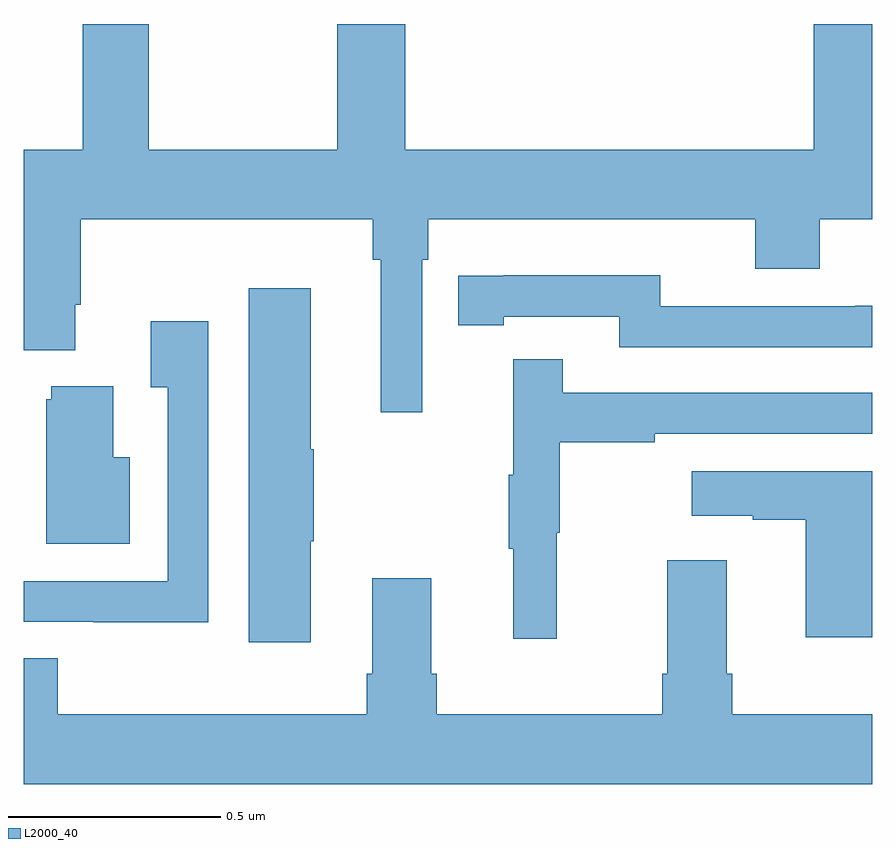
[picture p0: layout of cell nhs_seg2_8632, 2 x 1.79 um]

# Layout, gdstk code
import gdstk
lib = gdstk.Library(unit=1e-6, precision=1e-09)
def P(c, l, *ps):  # polygons
    for p in ps: c.add(gdstk.Polygon(p, *l))
L2000_40 = (2000, 40)

nhs_seg2_8632 = lib.new_cell('nhs_seg2_8632')
P(nhs_seg2_8632, L2000_40, [(219.939,610.244),(219.953,610.244),(219.953,610.34),(220.724,610.34),(220.724,610.223),(220.877,610.223),(220.877,610.34),(221,610.34),(221,610.8),(220.862,610.8),(220.862,610.504),(219.899,610.504),(219.899,610.8),(219.739,610.8),(219.739,610.504),(219.294,610.504),(219.294,610.8),(219.139,610.8),(219.139,610.504),(219,610.504),(219,610.031),(219.121,610.031),(219.121,610.138),(219.134,610.138),(219.134,610.34),(219.823,610.34),(219.823,610.244),(219.842,610.244),(219.842,609.885),(219.939,609.885)],
  [(221,610.136),(220.96,610.136),(220.96,610.134),(220.5,610.134),(220.5,610.207),(220.132,610.207),(220.132,610.206),(220.024,610.206),(220.024,610.09),(220.132,610.09),(220.132,610.11),(220.404,610.11),(220.404,610.038),(221,610.038)],
  [(219.676,609.58),(219.684,609.58),(219.684,609.797),(219.676,609.797),(219.676,610.177),(219.53,610.177),(219.53,609.342),(219.676,609.342)],
  [(219.435,610.099),(219.299,610.099),(219.299,609.943),(219.339,609.943),(219.339,609.486),(219,609.486),(219,609.39),(219.163,609.39),(219.163,609.389),(219.435,609.389)],
  [(220.256,609.6),(220.264,609.6),(220.264,609.814),(220.487,609.814),(220.487,609.834),(221,609.834),(221,609.93),(220.271,609.93),(220.271,610.009),(220.154,610.009),(220.154,609.737),(220.143,609.737),(220.143,609.563),(220.154,609.563),(220.154,609.351),(220.256,609.351)],
  [(219.25,609.778),(219.211,609.778),(219.211,609.946),(219.065,609.946),(219.065,609.915),(219.053,609.915),(219.053,609.575),(219.25,609.575)],
  [(221,609.745),(220.575,609.745),(220.575,609.641),(220.718,609.641),(220.718,609.631),(220.844,609.631),(220.844,609.354),(221,609.354)],
  [(221,609.172),(220.67,609.172),(220.67,609.268),(220.657,609.268),(220.657,609.535),(220.517,609.535),(220.517,609.268),(220.505,609.268),(220.505,609.172),(219.974,609.172),(219.974,609.268),(219.961,609.268),(219.961,609.493),(219.821,609.493),(219.821,609.268),(219.809,609.268),(219.809,609.172),(219.08,609.172),(219.08,609.305),(219,609.305),(219,609.008),(221,609.008)])

lib.write_gds('nhs_seg2_8632.gds')
